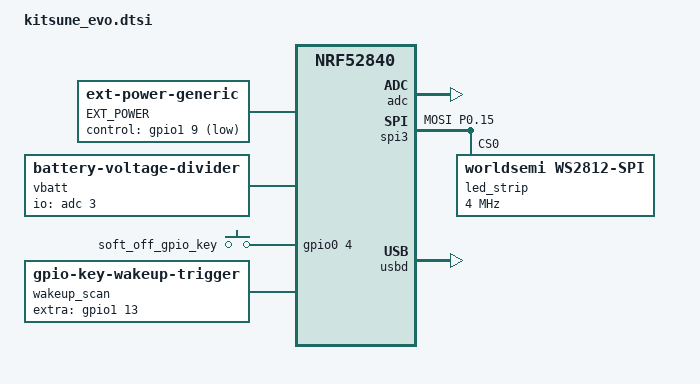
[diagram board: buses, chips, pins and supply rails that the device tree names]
/dts-v1/;
#include <nordic/nrf52840_qiaa.dtsi>
#include <dt-bindings/led/led.h>

/ {
    chosen {
        zmk,battery = &vbatt;
        zmk,underglow = &led_strip;
        zephyr,code-partition = &code_partition;
        zephyr,sram = &sram0;
        zephyr,flash = &flash0;
    };

    // Node name must match original "EXT_POWER" label to preserve user settings.
    EXT_POWER {
        compatible = "zmk,ext-power-generic";
        control-gpios = <&gpio1 9 GPIO_ACTIVE_LOW>; // RGB external power controlled by inverting NMOS switch
    };

    vbatt: vbatt {
        compatible = "zmk,battery-voltage-divider";
        io-channels = <&adc 3>;
        output-ohms = <390000>;
        full-ohms = <(390000 + 1000000)>;
    };

    /* Setup soft off for key "B" */
    keys {
        compatible = "gpio-keys";
        soft_off_gpio_key: soft_off_gpio_key {
            gpios = <&gpio0 4 (GPIO_ACTIVE_HIGH | GPIO_PULL_DOWN)>; // input pin of key "B"
        };
    };

    wakeup_scan: wakeup_scan {
        compatible = "zmk,gpio-key-wakeup-trigger";
        trigger = <&soft_off_gpio_key>;
        wakeup-source;
        extra-gpios = <&gpio1 13 GPIO_ACTIVE_HIGH>; // output pin of key "B"
    };

    soft_off_wakers {
        compatible = "zmk,soft-off-wakeup-sources";
        wakeup-sources = <&wakeup_scan>;
    };
};

&adc {
    status = "okay";
};

&gpiote {
    status = "okay";
};

&gpio0 {
    status = "okay";
};

&gpio1 {
    status = "okay";
};

&pinctrl {
    spi3_default: spi3_default {
        group1 {
            psels = <NRF_PSEL(SPIM_MOSI, 0, 15)>;
        };
    };

    spi3_sleep: spi3_sleep {
        group1 {
            psels = <NRF_PSEL(SPIM_MOSI, 0, 15)>;
            low-power-enable;
        };
    };
};

&spi3 {
    compatible = "nordic,nrf-spim";
    status = "okay";
    pinctrl-0 = <&spi3_default>;
    pinctrl-1 = <&spi3_sleep>;
    pinctrl-names = "default", "sleep";

    led_strip: ws2812@0 {
        compatible = "worldsemi,ws2812-spi";

        /* SPI */
        reg = <0>;
        spi-max-frequency = <4000000>;

        /* WS2812 */
        chain-length = <1>; /* number of LEDs */
        spi-one-frame = <0x70>;
        spi-zero-frame = <0x40>;

        color-mapping = <LED_COLOR_ID_GREEN
                         LED_COLOR_ID_RED
                         LED_COLOR_ID_BLUE>;
    };
};

zephyr_udc0: &usbd {
    status = "okay";
};

&flash0 {
    /*
     * For more information, see:
     * http://docs.zephyrproject.org/latest/devices/dts/flash_partitions.html
     */
    partitions {
        compatible = "fixed-partitions";
        #address-cells = <1>;
        #size-cells = <1>;

        sd_partition: partition@0 {
            reg = <0x00000000 0x00026000>;
        };
        code_partition: partition@26000 {
            reg = <0x00026000 0x000c6000>;
        };

        /*
         * The flash starting at 0x000ec000 and ending at
         * 0x000f3fff is reserved for use by the application.
         */

        /*
         * Storage partition will be used by FCB/LittleFS/NVS
         * if enabled.
         */
        storage_partition: partition@ec000 {
            reg = <0x000ec000 0x00008000>;
        };

        boot_partition: partition@f4000 {
            reg = <0x000f4000 0x0000c000>;
        };
    };
};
